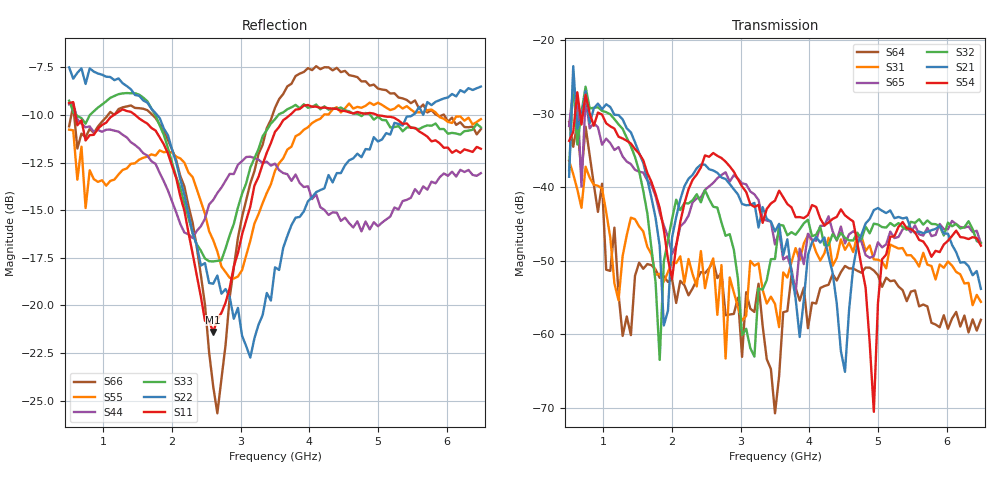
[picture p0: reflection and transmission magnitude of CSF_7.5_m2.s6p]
!Keysight Technologies,M9804A,MY58100912,A.14.10.03
!Date: Thursday, April 27, 2023 10:28:33
!Correction: S11(C  6-Port  )
!S12(C  6-Port  )
!S13(C  6-Port  )
!S14(C  6-Port  )
!S15(C  6-Port  )
!S16(C  6-Port  )
!S21(C  6-Port  )
!S22(C  6-Port  )
!S23(C  6-Port  )
!S24(C  6-Port  )
!S25(C  6-Port  )
!S26(C  6-Port  )
!S31(C  6-Port  )
!S32(C  6-Port  )
!S33(C  6-Port  )
!S34(C  6-Port  )
!S35(C  6-Port  )
!S36(C  6-Port  )
!S41(C  6-Port  )
!S42(C  6-Port  )
!S43(C  6-Port  )
!S44(C  6-Port  )
!S45(C  6-Port  )
!S46(C  6-Port  )
!S51(C  6-Port  )
!S52(C  6-Port  )
!S53(C  6-Port  )
!S54(C  6-Port  )
!S55(C  6-Port  )
!S56(C  6-Port  )
!S61(C  6-Port  )
!S62(C  6-Port  )
!S63(C  6-Port  )
!S64(C  6-Port  )
!S65(C  6-Port  )
!S66(C  6-Port  )
!S6P File: Measurement: :
# Hz S  RI  R 50
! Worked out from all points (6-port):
!   101 points, 500 MHz to 6.5 GHz, reference 50 ohm
!   strongest paths, dB at 500 MHz, 2 GHz, 3.5 GHz, 5 GHz, 6.5 GHz:
!     S54: -33.7, -52.5, -41.8, -55.8, -48.0
!     S21: -38.6, -46.8, -46.0, -42.8, -53.8
!     S32: -37.7, -44.3, -49.8, -45.1, -47.6
!     S65: -31.6, -49.1, -47.8, -47.5, -47.6
!     S31: -36.4, -50.2, -55.9, -49.9, -55.6
!     S64: -31.1, -52.5, -70.8, -52.0, -58.1
!   lowest |S11| = -21.4 dB at 2.6 GHz (marker M1), VSWR 1.19, Z = 42.5 + j2.28 ohm
!   |S11| at or under -10 dB: 593.4 MHz to 1.149 GHz (555.7 MHz wide, 63.8 % of centre); 1.464 GHz to 3.717 GHz (2.254 GHz wide, 87 % of centre); 4.988 GHz to end of sweep
